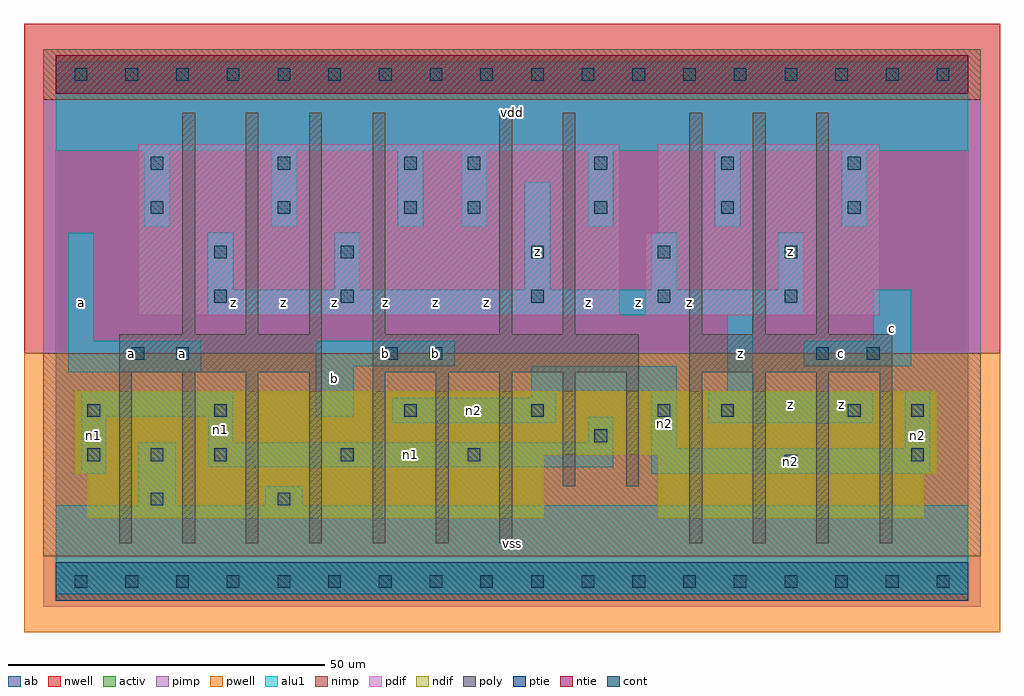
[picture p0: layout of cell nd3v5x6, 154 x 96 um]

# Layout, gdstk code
import gdstk
lib = gdstk.Library(unit=1e-6, precision=1e-09)
def R(c, l, rs):  # rectangles x0, y0, x1, y1
    for r in rs: c.add(gdstk.rectangle(r[:2], r[2:], *l))
def A(c, l, x, y, w, h, nx, ny, dx, dy):  # array of equal rectangles
    R(c, l, [(x+i*dx, y+j*dy, x+i*dx+w, y+j*dy+h) for i in range(nx) for j in range(ny)])
ndif = (3, 0)
pdif = (4, 0)
ntie = (5, 0)
ptie = (6, 0)
cont = (25, 0)
pwell = (41, 0)
nwell = (42, 0)
activ = (43, 0)
pimp = (44, 0)
nimp = (45, 0)
poly = (46, 0)
alu1 = (49, 0)
ab = (63, 0)

nd3v5x6 = lib.new_cell('nd3v5x6')
R(nd3v5x6, ndif, [(5,10,77,17), (95,10,137,17), (3,17,77,20), (95,17,139,20), (3,20,139,30)])
R(nd3v5x6, pdif, [(13,42,89,69), (93,42,130,55), (95,55,130,69)])
R(nd3v5x6, ntie, [(0,77,144,83)])
R(nd3v5x6, ptie, [(0,-3,144,3)])
A(nd3v5x6, cont, 3, -1, 2, 2, 18, 2, 8, 80)
A(nd3v5x6, cont, 5, 19, 2, 2, 3, 1, 10, 0)
A(nd3v5x6, cont, 55, 26, 2, 2, 3, 1, 20, 0)
A(nd3v5x6, cont, 75, 44, 2, 2, 3, 2, 20, 7)
A(nd3v5x6, cont, 15, 58, 2, 2, 3, 2, 20, 7)
A(nd3v5x6, cont, 65, 58, 2, 2, 4, 2, 20, 7)
R(nd3v5x6, cont, [(15,12,17,14), (35,12,37,14), (115,18,117,20), (45,19,47,21), (65,19,67,21), (135,19,137,21), (85,22,87,24), (5,26,7,28), (25,26,27,28), (105,26,107,28), (125,26,127,28), (135,26,137,28), (12,35,14,37), (19,35,21,37), (52,35,54,37), (59,35,61,37), (120,35,122,37), (128,35,130,37), (25,44,27,46), (45,44,47,46), (25,51,27,53), (45,51,47,53)])
R(nd3v5x6, pwell, [(-5,-8,149,36)])
R(nd3v5x6, nwell, [(-5,36,149,88)])
R(nd3v5x6, activ, [(0,-3,144,3), (5,10,77,17), (95,10,137,17), (3,17,77,20), (95,17,139,20), (3,20,139,30), (13,42,89,69), (93,42,130,55), (95,55,130,69), (0,77,144,83)])
R(nd3v5x6, pimp, [(-2,-4,146,4), (-2,36,146,76)])
R(nd3v5x6, nimp, [(-2,4,146,36), (-2,76,146,84)])
A(nd3v5x6, poly, 10, 6, 2, 27, 7, 1, 10, 0)
A(nd3v5x6, poly, 100, 6, 2, 27, 4, 1, 10, 0)
A(nd3v5x6, poly, 20, 39, 2, 35, 4, 1, 10, 0)
A(nd3v5x6, poly, 100, 39, 2, 35, 3, 1, 10, 0)
R(nd3v5x6, poly, [(80,15,82,33), (90,15,92,33), (10,33,42,39), (50,33,92,39), (100,33,132,39), (70,39,72,74), (80,39,82,74)])
A(nd3v5x6, alu1, 14, 56, 4, 12, 3, 1, 20, 0)
A(nd3v5x6, alu1, 64, 56, 4, 12, 4, 1, 20, 0)
R(nd3v5x6, alu1, [(0,-2,144,12), (13,12,19,22), (33,12,39,15), (4,17,8,26), (94,17,138,21), (24,18,88,22), (94,21,98,30), (134,21,138,30), (24,22,28,26), (84,22,88,26), (53,25,79,29), (103,25,129,30), (4,26,28,30), (41,26,47,34), (75,29,79,30), (75,30,98,34), (106,30,110,42), (2,33,23,38), (41,34,63,38), (118,34,135,38), (2,38,6,55), (129,38,135,46), (24,42,118,46), (24,46,28,55), (44,46,48,55), (74,46,78,63), (94,46,98,55), (114,46,118,55), (0,68,144,82)])
R(nd3v5x6, ab, [(0,0,144,80)])
nd3v5x6.add(gdstk.Label('n1', (6,23), layer=49, texttype=0))
nd3v5x6.add(gdstk.Label('n1', (26,24), layer=49, texttype=0))
nd3v5x6.add(gdstk.Label('n2', (66,27), layer=49, texttype=0))
nd3v5x6.add(gdstk.Label('n1', (56,20), layer=49, texttype=0))
nd3v5x6.add(gdstk.Label('n2', (96,25), layer=49, texttype=0))
nd3v5x6.add(gdstk.Label('n2', (116,19), layer=49, texttype=0))
nd3v5x6.add(gdstk.Label('n2', (136,23), layer=49, texttype=0))
nd3v5x6.add(gdstk.Label('a', (4,44), layer=49, texttype=0))
nd3v5x6.add(gdstk.Label('a', (12,36), layer=49, texttype=0))
nd3v5x6.add(gdstk.Label('a', (20,36), layer=49, texttype=0))
nd3v5x6.add(gdstk.Label('b', (44,32), layer=49, texttype=0))
nd3v5x6.add(gdstk.Label('z', (28,44), layer=49, texttype=0))
nd3v5x6.add(gdstk.Label('z', (44,44), layer=49, texttype=0))
nd3v5x6.add(gdstk.Label('z', (52,44), layer=49, texttype=0))
nd3v5x6.add(gdstk.Label('b', (52,36), layer=49, texttype=0))
nd3v5x6.add(gdstk.Label('z', (36,44), layer=49, texttype=0))
nd3v5x6.add(gdstk.Label('vss', (72,6), layer=49, texttype=0))
nd3v5x6.add(gdstk.Label('z', (60,44), layer=49, texttype=0))
nd3v5x6.add(gdstk.Label('b', (60,36), layer=49, texttype=0))
nd3v5x6.add(gdstk.Label('z', (84,44), layer=49, texttype=0))
nd3v5x6.add(gdstk.Label('z', (68,44), layer=49, texttype=0))
nd3v5x6.add(gdstk.Label('z', (76,52), layer=49, texttype=0))
nd3v5x6.add(gdstk.Label('vdd', (72,74), layer=49, texttype=0))
nd3v5x6.add(gdstk.Label('z', (92,44), layer=49, texttype=0))
nd3v5x6.add(gdstk.Label('z', (100,44), layer=49, texttype=0))
nd3v5x6.add(gdstk.Label('z', (108,36), layer=49, texttype=0))
nd3v5x6.add(gdstk.Label('z', (116,28), layer=49, texttype=0))
nd3v5x6.add(gdstk.Label('z', (124,28), layer=49, texttype=0))
nd3v5x6.add(gdstk.Label('c', (132,40), layer=49, texttype=0))
nd3v5x6.add(gdstk.Label('c', (124,36), layer=49, texttype=0))
nd3v5x6.add(gdstk.Label('z', (116,52), layer=49, texttype=0))

lib.write_gds('nd3v5x6.gds')
